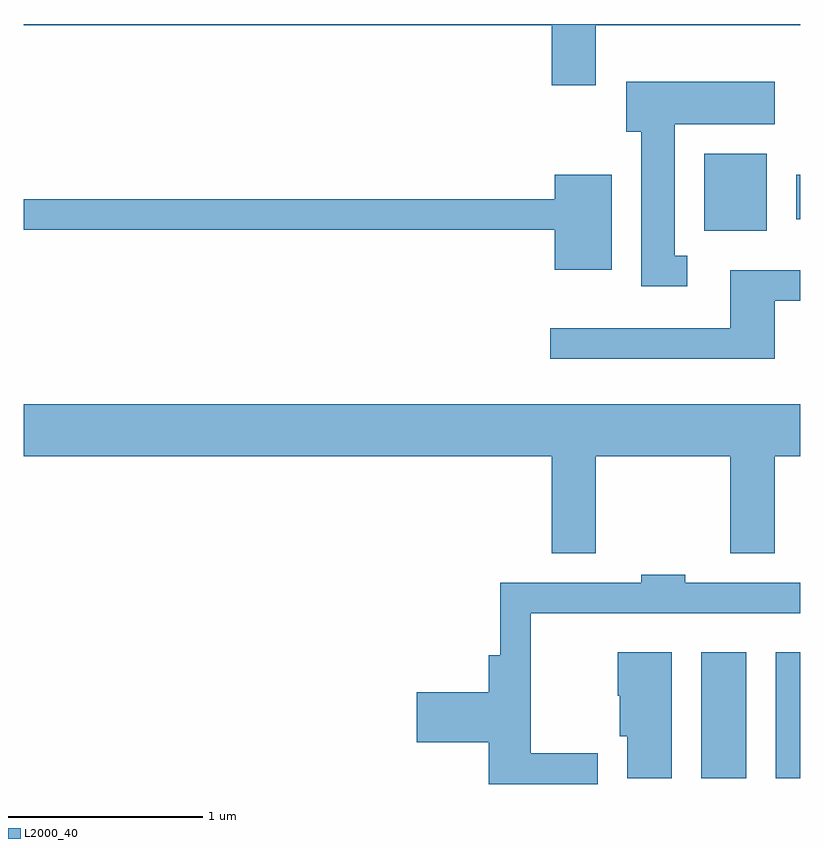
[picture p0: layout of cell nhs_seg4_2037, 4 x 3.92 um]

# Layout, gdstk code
import gdstk
lib = gdstk.Library(unit=1e-6, precision=1e-09)
def R(c, l, rs):  # rectangles x0, y0, x1, y1
    for r in rs: c.add(gdstk.rectangle(r[:2], r[2:], *l))
def P(c, l, *ps):  # polygons
    for p in ps: c.add(gdstk.Polygon(p, *l))
L2000_40 = (2000, 40)

nhs_seg4_2037 = lib.new_cell('nhs_seg4_2037')
R(nhs_seg4_2037, L2000_40, [(247.101,1384.096,247.334,1384.744), (247.486,1384.096,247.611,1384.744), (247.116,1386.916,247.439,1387.314), (247.591,1386.976,247.611,1387.204)])
P(nhs_seg4_2037, L2000_40, [(246.559,1387.976),(247.611,1387.976),(247.611,1387.982),(243.611,1387.982),(243.611,1387.976),(246.331,1387.976),(246.331,1387.666),(246.559,1387.666)],
  [(247.028,1386.789),(246.964,1386.789),(246.964,1387.466),(247.479,1387.466),(247.479,1387.684),(246.716,1387.684),(246.716,1387.426),(246.791,1387.426),(246.791,1386.631),(247.028,1386.631)],
  [(246.639,1387.204),(246.346,1387.204),(246.346,1387.079),(243.611,1387.079),(243.611,1386.921),(246.346,1386.921),(246.346,1386.716),(246.639,1386.716)],
  [(247.479,1386.556),(247.611,1386.556),(247.611,1386.714),(247.251,1386.714),(247.251,1386.414),(246.323,1386.414),(246.323,1386.256),(247.479,1386.256)],
  [(246.559,1385.756),(247.251,1385.756),(247.251,1385.256),(247.479,1385.256),(247.479,1385.756),(247.611,1385.756),(247.611,1386.024),(243.611,1386.024),(243.611,1385.756),(246.331,1385.756),(246.331,1385.256),(246.559,1385.256)],
  [(246.568,1384.224),(246.224,1384.224),(246.224,1384.946),(247.611,1384.946),(247.611,1385.104),(247.019,1385.104),(247.019,1385.144),(246.791,1385.144),(246.791,1385.104),(246.066,1385.104),(246.066,1384.729),(246.006,1384.729),(246.006,1384.539),(245.636,1384.539),(245.636,1384.281),(246.006,1384.281),(246.006,1384.066),(246.568,1384.066)],
  [(246.949,1384.744),(246.671,1384.744),(246.671,1384.52),(246.681,1384.52),(246.681,1384.311),(246.721,1384.311),(246.721,1384.096),(246.949,1384.096)])

lib.write_gds('nhs_seg4_2037.gds')
